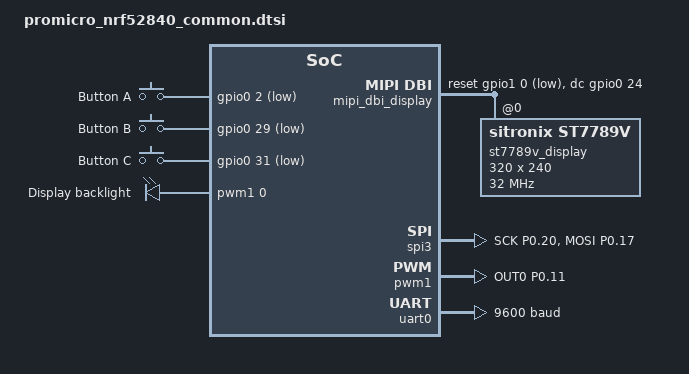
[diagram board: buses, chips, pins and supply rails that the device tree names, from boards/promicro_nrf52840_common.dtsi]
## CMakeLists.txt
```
# SPDX-License-Identifier: Apache-2.0

cmake_minimum_required(VERSION 3.20.0)
find_package(Zephyr REQUIRED HINTS $ENV{ZEPHYR_BASE})
project(dji_remote)

# The directory layout mirrors the original ESP-IDF project
# (https://github.com/rhoenschrat/DJI-Remote) so both trees can be diffed.
target_include_directories(app PRIVATE
    utils/compat
    utils/crc
    protocol
    ble
    data
    main
    logic
    gps
    .
)

target_sources(app PRIVATE
    utils/compat/esp_err.c
    utils/compat/freertos_compat.c
    utils/compat/nvs_flash.c
    utils/compat/uart_compat.c
    utils/crc/custom_crc16.c
    utils/crc/custom_crc32.c
    protocol/dji_protocol_parser.c
    protocol/dji_protocol_data_processor.c
    protocol/dji_protocol_data_descriptors.c
    protocol/dji_protocol_data_structures.c
    ble/ble.c
    data/data.c
    main/promicro_nrf52840_hal.c
    logic/connect_logic.c
    logic/command_logic.c
    logic/status_logic.c
    logic/enums_logic.c
    logic/light_logic.c
    gps/gps_reader.c
    log_config.c
    main/app_main.c
    main/ui.c
    main/ui_layout.c
    main/ui_screen_main.c
    main/ui_screen_pairing.c
    main/ui_screen_settings.c
    main/ui_screen_mode_switch.c
    main/ui_screen_splash.c
    main/icons.c
    main/lvgl_icons.c
    main/splash_logo.c
)
```

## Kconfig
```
# DJI-Remote-nRFConnect application configuration

menu "DJI Remote"

module = DJI_REMOTE
module-str = DJI Remote
source "subsys/logging/Kconfig.template.log_config"

menu "GPS Configuration"

config GPS_UART_NUM
    int "UART port number for GPS"
    default 0
    help
        Kept from the original project so gps_reader.c compiles unchanged.
        On Zephyr the port is selected by the `gps-uart` devicetree alias,
        so this value is only used in log messages.

config GPS_UART_BAUD_RATE
    int "GPS UART baud rate"
    default 9600
    help
        Baud rate for GPS UART communication (ATGM336H defaults to 9600).

config GPS_UART_TX_PIN
    int "GPS UART TX GPIO pin"
    default 9
    help
        Documented here for parity with the original project; the actual pin
        comes from the devicetree (P0.09).

config GPS_UART_RX_PIN
    int "GPS UART RX GPIO pin"
    default 10
    help
        Documented here for parity with the original project; the actual pin
        comes from the devicetree (P0.10).

endmenu

endmenu

source "Kconfig.zephyr"
```

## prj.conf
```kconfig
# DJI-Remote-nRFConnect -- application configuration
#
# Board / pin assignment lives in boards/promicro_nrf52840_common.dtsi

# --- Peripherals ---------------------------------------------------------
CONFIG_GPIO=y
CONFIG_SPI=y
CONFIG_PWM=y
CONFIG_SERIAL=y
CONFIG_INPUT=y

# --- Display (ST7789V over MIPI DBI / SPIM3) -----------------------------
CONFIG_DISPLAY=y
CONFIG_MIPI_DBI=y
CONFIG_ST7789V=y
CONFIG_ST7789V_RGB565=y

# --- Logging ------------------------------------------------------------
CONFIG_LOG=y
CONFIG_DJI_REMOTE_LOG_LEVEL_INF=y

# --- Bluetooth ----------------------------------------------------------
# Multirole: central for up to BLE_MAX_CAMERAS cameras, plus peripheral /
# broadcaster for the wake broadcast (a connectable ADV_IND, which needs a
# spare connection object -- hence MAX_CONN = 3 cameras + 1).
CONFIG_BT=y
CONFIG_BT_CENTRAL=y
CONFIG_BT_PERIPHERAL=y
CONFIG_BT_OBSERVER=y
CONFIG_BT_BROADCASTER=y
CONFIG_BT_GATT_CLIENT=y
CONFIG_BT_MAX_CONN=4
CONFIG_BT_DEVICE_NAME="DJI-Remote"

# No pairing/encryption: DJI cameras withhold notifications from clients that
# advertise encryption support but never pair (same as the original firmware,
# which ran NimBLE with CONFIG_BT_NIMBLE_SECURITY_ENABLE=n).
CONFIG_BT_SMP=n

# ATT MTU 500, same as the original firmware
# (CONFIG_BT_NIMBLE_ATT_PREFERRED_MTU=500). This is expensive in RAM with
# four links on a 256 KB part -- lowering it is tracked as a separate
# parameter-tuning change, not part of the port itself.
CONFIG_BT_BUF_ACL_RX_SIZE=502
CONFIG_BT_BUF_ACL_TX_SIZE=502
CONFIG_BT_L2CAP_TX_MTU=500

# --- Console / logging over USB CDC ACM ---------------------------------
# The Pro Micro has no debug UART broken out; the board devicetree already
# points zephyr,console at a CDC ACM node, so the USB device stack just has
# to come up at boot. Logs appear on the USB serial port.
CONFIG_USB_DEVICE_STACK_NEXT=y
CONFIG_CDC_ACM_SERIAL_INITIALIZE_AT_BOOT=y
CONFIG_CONSOLE=y
CONFIG_UART_CONSOLE=y
CONFIG_UART_LINE_CTRL=y

# --- Kernel -------------------------------------------------------------
# The FreeRTOS compatibility shim creates the ported tasks at runtime with
# xTaskCreate(), which needs dynamically allocated thread stacks.
CONFIG_DYNAMIC_THREAD=y
CONFIG_DYNAMIC_THREAD_ALLOC=y
CONFIG_THREAD_NAME=y
CONFIG_HEAP_MEM_POOL_SIZE=16384

# gps_reader.c logs its task stack high-watermark, which needs the
# stacks to be pre-filled so the unused part can be measured.
CONFIG_INIT_STACKS=y
CONFIG_THREAD_STACK_INFO=y

# --- LVGL ---------------------------------------------------------------
# Same LVGL version (9.5.0) as the original project.
CONFIG_LVGL=y
CONFIG_LV_USE_LOG=y
# LVGL heap -- the original sets CONFIG_LV_MEM_SIZE_KILOBYTES=64
CONFIG_LV_Z_MEM_POOL_SIZE=65536
CONFIG_LV_COLOR_DEPTH_16=y
CONFIG_LV_Z_BITS_PER_PIXEL=16

# Rendering buffers: the original used two 320x40 partial buffers
# (lvgl_port_display_cfg_t.buffer_size = M5_LCD_H_RES * 40, double_buffer).
# 40 of 240 rows is 17% of the display.
CONFIG_LV_Z_VDB_SIZE=17
CONFIG_LV_Z_DOUBLE_VDB=y

# LVGL runs on its own workqueue and hands out the lock that the UI code
# takes through lvgl_port_lock()/lvgl_port_unlock().
CONFIG_LV_Z_RUN_LVGL_ON_WORKQUEUE=y
CONFIG_LV_Z_LVGL_MUTEX=y
CONFIG_LV_Z_AUTO_INIT=y

# Matches the original sdkconfig.defaults
CONFIG_LV_DEF_REFR_PERIOD=33
CONFIG_LV_DPI_DEF=130
CONFIG_LV_USE_BIDI=n
CONFIG_LV_USE_ARABIC_PERSIAN_CHARS=n
CONFIG_LV_USE_SYSMON=n
CONFIG_LV_USE_PERF_MONITOR=n
CONFIG_LV_FONT_MONTSERRAT_12=y
CONFIG_LV_FONT_MONTSERRAT_14=y
CONFIG_LV_FONT_MONTSERRAT_16=y
CONFIG_LV_FONT_DEFAULT_MONTSERRAT_14=y

# --- Persistent storage (the NVS shim) ----------------------------------
CONFIG_FLASH=y
CONFIG_FLASH_MAP=y
CONFIG_NVS=y

# Hardware RNG behind esp_random()
CONFIG_ENTROPY_GENERATOR=y
```

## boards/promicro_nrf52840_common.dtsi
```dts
/*
 * Pro Micro nRF52840 (SuperMini / nice!nano compatible) board customisation
 * for DJI-Remote-nRFConnect.
 *
 * Pin map (see docs/hardware-promicro-nrf52840.md):
 *
 *   Display (ST7789V, SPIM3 @ 32 MHz)
 *     SCK    P0.20    MOSI   P0.17    CS  P0.22
 *     DC     P0.24    RESET  P1.00    BL  P0.11 (PWM1 ch0)
 *   GPS (UART0, 9600 8N1)
 *     TX ->  P0.09    RX <-  P0.10
 *   Buttons (internal pull-up, active low)
 *     A P0.02          B P0.29          C P0.31
 *   Status LED
 *     P0.15 (on-board red LED)
 *
 * Free for future use: P0.06 P0.08 P1.04 P1.06 P1.11 P1.13 P1.15
 */

#include <zephyr/dt-bindings/mipi_dbi/mipi_dbi.h>
#include <zephyr/dt-bindings/input/input-event-codes.h>

/ {
	chosen {
		zephyr,display = &st7789v_display;
	};

	/*
	 * Buttons A/B/C -- same roles as the internal M5Stack Basic buttons
	 * in the original project (A = shutter, B = next, C = options).
	 */
	buttons {
		compatible = "gpio-keys";

		button_a: button_a {
			gpios = <&gpio0 2 (GPIO_PULL_UP | GPIO_ACTIVE_LOW)>;
			label = "Button A";
			zephyr,code = <INPUT_KEY_0>;
		};

		button_b: button_b {
			gpios = <&gpio0 29 (GPIO_PULL_UP | GPIO_ACTIVE_LOW)>;
			label = "Button B";
			zephyr,code = <INPUT_KEY_1>;
		};

		button_c: button_c {
			gpios = <&gpio0 31 (GPIO_PULL_UP | GPIO_ACTIVE_LOW)>;
			label = "Button C";
			zephyr,code = <INPUT_KEY_2>;
		};
	};

	/* Display backlight -- replaces the ESP32 LEDC channel */
	pwmleds {
		compatible = "pwm-leds";

		display_bl: display_bl {
			pwms = <&pwm1 0 PWM_MSEC(1) PWM_POLARITY_NORMAL>;
			label = "Display backlight";
		};
	};

	mipi_dbi_display {
		compatible = "zephyr,mipi-dbi-spi";
		spi-dev = <&spi3>;
		dc-gpios = <&gpio0 24 GPIO_ACTIVE_HIGH>;
		reset-gpios = <&gpio1 0 GPIO_ACTIVE_LOW>;
		write-only;
		#address-cells = <1>;
		#size-cells = <0>;

		/*
		 * 2.0"/2.4" 240x320 ST7789V panel driven in landscape
		 * (320x240) to match the original M5Stack Basic layout.
		 * mdac = MV | MX -> row/column exchange + column mirror.
		 */
		st7789v_display: st7789v@0 {
			compatible = "sitronix,st7789v";
			reg = <0>;
			mipi-max-frequency = <32000000>;
			mipi-mode = "MIPI_DBI_MODE_SPI_4WIRE";
			width = <320>;
			height = <240>;
			x-offset = <0>;
			y-offset = <0>;
			vcom = <0x19>;
			gctrl = <0x35>;
			vrhs = <0x12>;
			vdvs = <0x20>;
			mdac = <0x60>;
			gamma = <0x01>;
			colmod = <0x05>;
			lcm = <0x2c>;
			porch-param = [0c 0c 00 33 33];
			cmd2en-param = [5a 69 02 01];
			pwctrl1-param = [a4 a1];
			pvgam-param = [d0 04 0d 11 13 2b 3f 54 4c 18 0d 0b 1f 23];
			nvgam-param = [d0 04 0c 11 13 2c 3f 44 51 2f 1f 1f 20 23];
			ram-param = [00 f0];
			rgb-param = [cd 08 14];
		};
	};

	aliases {
		btn-a = &button_a;
		btn-b = &button_b;
		btn-c = &button_c;
		display-bl = &display_bl;
		gps-uart = &uart0;
		status-led = &led0;
	};
};

&pinctrl {
	/* SPIM3 -- display, write only, no MISO */
	spi3_default: spi3_default {
		group1 {
			psels = <NRF_PSEL(SPIM_SCK, 0, 20)>,
				<NRF_PSEL(SPIM_MOSI, 0, 17)>;
			nordic,drive-mode = <NRF_DRIVE_H0H1>;
		};
	};

	spi3_sleep: spi3_sleep {
		group1 {
			psels = <NRF_PSEL(SPIM_SCK, 0, 20)>,
				<NRF_PSEL(SPIM_MOSI, 0, 17)>;
			low-power-enable;
		};
	};

	/* PWM1 -- display backlight */
	pwm1_default: pwm1_default {
		group1 {
			psels = <NRF_PSEL(PWM_OUT0, 0, 11)>;
		};
	};

	pwm1_sleep: pwm1_sleep {
		group1 {
			psels = <NRF_PSEL(PWM_OUT0, 0, 11)>;
			low-power-enable;
		};
	};
};

&spi3 {
	compatible = "nordic,nrf-spim";
	status = "okay";
	cs-gpios = <&gpio0 22 GPIO_ACTIVE_LOW>;
	pinctrl-0 = <&spi3_default>;
	pinctrl-1 = <&spi3_sleep>;
	pinctrl-names = "default", "sleep";
};

&pwm1 {
	status = "okay";
	pinctrl-0 = <&pwm1_default>;
	pinctrl-1 = <&pwm1_sleep>;
	pinctrl-names = "default", "sleep";
};

/* UART0 is free for the GPS module -- the console runs over USB CDC ACM */
&uart0 {
	current-speed = <9600>;
};

/* Not used -- frees P1.00 / P0.11 (i2c0) and P1.04 / P1.06 (i2c1) */
&i2c0 {
	status = "disabled";
};

&i2c1 {
	status = "disabled";
};

/* Not used -- frees P1.01 / P1.02 / P1.07 */
&spi2 {
	status = "disabled";
};
```

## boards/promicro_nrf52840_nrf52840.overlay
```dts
/*
 * SPDX-License-Identifier: MIT
 */

#include "promicro_nrf52840_common.dtsi"
```

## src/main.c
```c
/*
 * DJI-Remote-nRFConnect -- temporary bring-up entry point.
 *
 * This file exists only until main/app_main.c is ported.  It brings up the
 * BLE layer and runs a pairing scan so the port can be exercised on real
 * hardware: every DJI camera in range is logged by ble.c and by the pairing
 * stubs in port_stubs.c.
 */

#include <zephyr/kernel.h>
#include <zephyr/logging/log.h>

#include "ble.h"

LOG_MODULE_REGISTER(main, CONFIG_DJI_REMOTE_LOG_LEVEL);

#define SCAN_TIMEOUT_MS 30000

int main(void)
{
	LOG_INF("DJI-Remote-nRFConnect starting");

	if (ble_init() != ESP_OK) {
		LOG_ERR("ble_init failed");
		return 0;
	}

	while (1) {
		LOG_INF("Starting pairing scan for %d ms", SCAN_TIMEOUT_MS);
		ble_start_scan(SCAN_MODE_PAIRING, 0, SCAN_TIMEOUT_MS);

		k_sleep(K_MSEC(SCAN_TIMEOUT_MS + 5000));
	}

	return 0;
}
```

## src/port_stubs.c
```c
/*
 * Temporary port scaffolding.
 *
 * ble.c calls back into the UI and connect-logic layers, which have not been
 * ported yet.  These stubs keep the firmware linkable and log what the real
 * implementation would receive.
 *
 * Each stub is deleted as soon as its owning module lands:
 *
 *   ui_pairing_*         -> main/ui_screen_pairing.c
 *   connect_logic_*      -> logic/connect_logic.c
 */

#include <stdbool.h>
#include <stdint.h>

#include <zephyr/logging/log.h>

LOG_MODULE_REGISTER(port_stubs, CONFIG_DJI_REMOTE_LOG_LEVEL);

void ui_pairing_add_discovered_camera(const char *name, const uint8_t *mac,
				      int8_t rssi, uint32_t device_id)
{
	LOG_INF("[stub] discovered camera: %s  %02X:%02X:%02X:%02X:%02X:%02X  "
		"rssi=%d device_id=0x%04X",
		name, mac[0], mac[1], mac[2], mac[3], mac[4], mac[5],
		rssi, (unsigned int)device_id);
}

void ui_pairing_update_discovered_camera_name(const char *name, const uint8_t *mac)
{
	LOG_INF("[stub] camera name update: %s  %02X:%02X:%02X:%02X:%02X:%02X",
		name, mac[0], mac[1], mac[2], mac[3], mac[4], mac[5]);
}

void connect_logic_mark_slot_found(int slot_index)
{
	LOG_INF("[stub] slot %d found during boot scan", slot_index);
}

bool connect_logic_is_slot_found(int slot_index)
{
	ARG_UNUSED(slot_index);
	return false;
}

void connect_logic_mark_slot_not_found_during_boot(int slot_index)
{
	LOG_INF("[stub] slot %d not found during boot scan", slot_index);
}
```
